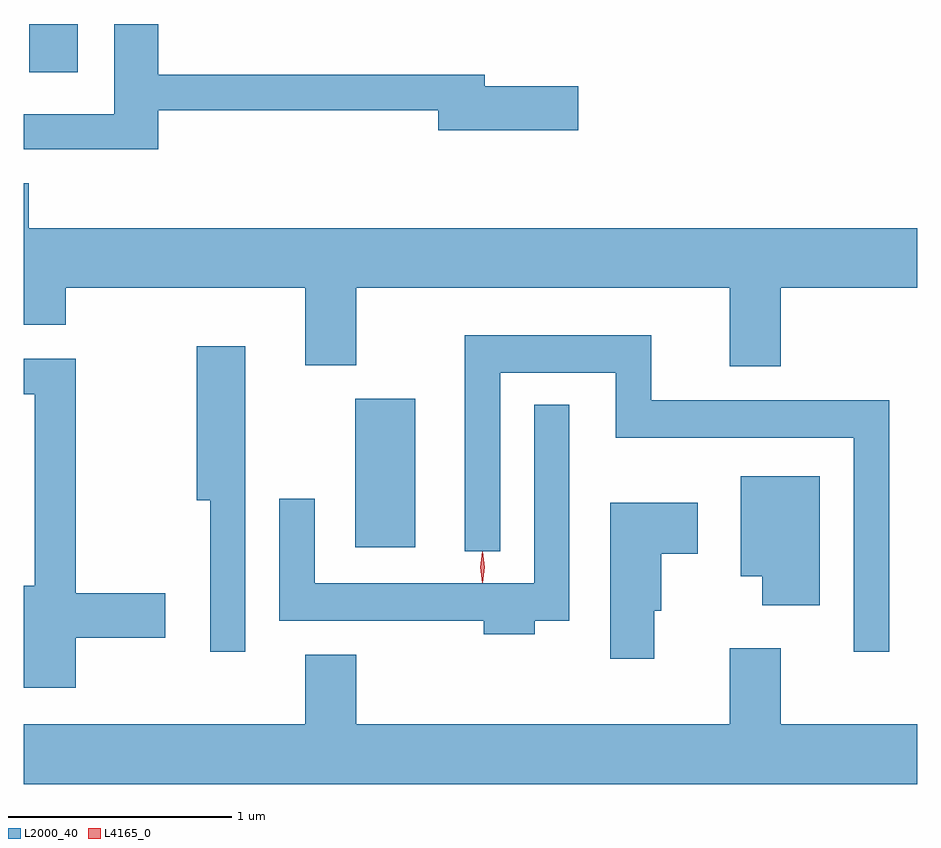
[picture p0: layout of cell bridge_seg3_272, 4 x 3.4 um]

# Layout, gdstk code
import gdstk
lib = gdstk.Library(unit=1e-6, precision=1e-09)
def R(c, l, rs):  # rectangles x0, y0, x1, y1
    for r in rs: c.add(gdstk.rectangle(r[:2], r[2:], *l))
def P(c, l, *ps):  # polygons
    for p in ps: c.add(gdstk.Polygon(p, *l))
L2000_40 = (2000, 40)
L4165_0 = (4165, 0)

bridge_seg3_272 = lib.new_cell('bridge_seg3_272')
R(bridge_seg3_272, L2000_40, [(1038.146,1140.396,1038.414,1141.059), (1036.686,1142.521,1036.904,1142.737)])
P(bridge_seg3_272, L2000_40, [(1037.264,1142.351),(1038.516,1142.351),(1038.516,1142.261),(1039.144,1142.261),(1039.144,1142.459),(1038.724,1142.459),(1038.724,1142.509),(1037.264,1142.509),(1037.264,1142.737),(1037.066,1142.737),(1037.066,1142.334),(1036.661,1142.334),(1036.661,1142.176),(1037.264,1142.176)],
  [(1040.049,1141.556),(1040.661,1141.556),(1040.661,1141.824),(1036.684,1141.824),(1036.684,1142.024),(1036.661,1142.024),(1036.661,1141.391),(1036.849,1141.391),(1036.849,1141.556),(1037.921,1141.556),(1037.921,1141.211),(1038.149,1141.211),(1038.149,1141.556),(1039.821,1141.556),(1039.821,1141.206),(1040.049,1141.206)],
  [(1040.534,1141.054),(1039.469,1141.054),(1039.469,1141.344),(1038.636,1141.344),(1038.636,1140.378),(1038.794,1140.378),(1038.794,1141.176),(1039.311,1141.176),(1039.311,1140.886),(1040.376,1140.886),(1040.376,1139.928),(1040.534,1139.928)],
  [(1037.654,1141.294),(1037.436,1141.294),(1037.436,1140.606),(1037.496,1140.606),(1037.496,1139.928),(1037.654,1139.928)],
  [(1036.894,1139.991),(1037.294,1139.991),(1037.294,1140.189),(1036.894,1140.189),(1036.894,1141.239),(1036.661,1141.239),(1036.661,1141.081),(1036.711,1141.081),(1036.711,1140.224),(1036.661,1140.224),(1036.661,1139.766),(1036.894,1139.766)],
  [(1038.949,1140.066),(1039.104,1140.066),(1039.104,1141.033),(1038.946,1141.033),(1038.946,1140.234),(1037.964,1140.234),(1037.964,1140.613),(1037.806,1140.613),(1037.806,1140.066),(1038.721,1140.066),(1038.721,1140.006),(1038.949,1140.006)],
  [(1040.224,1140.714),(1039.871,1140.714),(1039.871,1140.266),(1039.966,1140.266),(1039.966,1140.136),(1040.224,1140.136)],
  [(1039.484,1140.111),(1039.514,1140.111),(1039.514,1140.366),(1039.679,1140.366),(1039.679,1140.594),(1039.286,1140.594),(1039.286,1139.896),(1039.484,1139.896)],
  [(1040.661,1139.604),(1040.049,1139.604),(1040.049,1139.944),(1039.821,1139.944),(1039.821,1139.604),(1038.149,1139.604),(1038.149,1139.914),(1037.921,1139.914),(1037.921,1139.604),(1036.661,1139.604),(1036.661,1139.336),(1040.661,1139.336)])
P(bridge_seg3_272, L4165_0, [(1038.715,1140.239),(1038.714,1140.24),(1038.705,1140.306),(1038.714,1140.372),(1038.715,1140.373),(1038.715,1140.372),(1038.725,1140.306),(1038.715,1140.24)],
  [(1038.714,1140.237),(1038.705,1140.306),(1038.714,1140.376),(1038.715,1140.376),(1038.715,1140.376),(1038.725,1140.306),(1038.715,1140.237),(1038.715,1140.237)])

lib.write_gds('bridge_seg3_272.gds')
